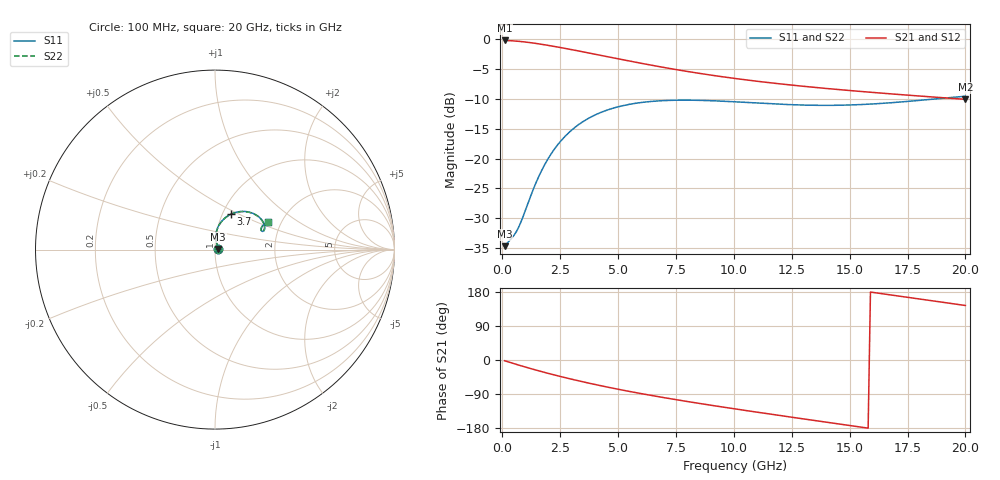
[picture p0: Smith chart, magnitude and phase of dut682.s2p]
! Touchstone file exported from HFSS 2024.1.0
!  File:  C:/UserFiles/LocalFiles/RDL_TSV_Batchsim/temp_RDL_TSV_682_1779816917.aedt
!  Generated:  01:54:01 AM May 27, 2026
!  Design:  RDL_TSV
!  Project:  temp_RDL_TSV_682_1779816917
!  Setup:  Setup1
!  Solution:  Sweep
! Variables:
!  dtsv = 11.25um
!  hbump = 3um
!  htsv = 67.99um
!  ldown = 454.42um
!  lrdl = 448.85um
!  p = 40
!  p1 = 52.56um
!  rhole = 10um
!  subl = 3158.66um
!  t = 450um
!  tdown = 3.02um
!  trdl = 4.36um
!  viad = 10um
!  wdown = 13.96um
!  wrdl = 23.14um
!  xbump = 18um
# GHz S MA R 50.000000
! Terminal data exported
! Port[1] = TM1_1_T1
! Port[2] = TM1_4_T1
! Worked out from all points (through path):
!   200 points, 100 MHz to 20 GHz, reference 50 ohm
!   highest |S21| = -0.16 dB at 100 MHz (marker M1); lowest = -10.1 dB at 20 GHz (marker M2)
!   group delay of S21, straight-line fit = 28.1 ps
!   lowest |S11| = -34.7 dB at 100 MHz (marker M3), VSWR 1.04, Z = 51.8 + j0.355 ohm
!   |S11| at or under -10 dB: start of sweep to 18.67 GHz
!   |S22| runs from -34.7 to -9.6 dB; largest |S21 - S12| = 1.5e-14
!   S11 on the Smith chart (normalised r, x): 100 MHz: 1.04, +0.01; 3.7 GHz: 1.10, +0.45; 20 GHz: 1.72, +0.59
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0.1  0.01836 10.7  0.9815 -2.0  0.9815 -2.0  0.01836 10.7
! Gamma 0 0 0 0
! Port Impedance 50 0 50 0
0.5  0.0226 43.1  0.9727 -9.5  0.9727 -9.5  0.02261 43.0
0.7  0.02634 58.3  0.9656 -13.2  0.9656 -13.2  0.02635 58.2
1.1  0.04167 79.3  0.947 -20.4  0.947 -20.4  0.04165 79.2
1.5  0.06556 86.4  0.9239 -27.4  0.9239 -27.4  0.06547 86.2
1.8  0.08658 86.6  0.9047 -32.3  0.9047 -32.3  0.08643 86.5
2.1  0.1087 84.7  0.8846 -37.2  0.8846 -37.2  0.1085 84.6
2.7  0.1529 78.3  0.8427 -46.4  0.8427 -46.4  0.1525 78.2
3.5  0.2051 68.3  0.7867 -57.8  0.7867 -57.8  0.2046 68.2
3.7  0.2164 65.8  0.7729 -60.6  0.7729 -60.6  0.2158 65.7
4.4  0.2501 57.6  0.7262 -69.7  0.7262 -69.7  0.2494 57.5
5.2  0.2779 49.3  0.6763 -79.6  0.6763 -79.6  0.277 49.2
6  0.2956 42.3  0.631 -88.8  0.631 -88.8  0.2946 42.2
6.8  0.3054 36.4  0.5905 -97.4  0.5905 -97.4  0.3043 36.3
8.4  0.3086 27.7  0.5234 -113.6  0.5234 -113.6  0.3073 27.6
10.1  0.2992 22.5  0.4691 -129.5  0.4691 -129.5  0.2978 22.5
11.7  0.2878 20.9  0.4301 -143.9  0.4301 -143.9  0.2863 20.8
13.4  0.2802 21.7  0.3975 -158.9  0.3975 -158.9  0.2789 21.7
15  0.2817 23.9  0.3726 -172.9  0.3726 -172.9  0.2805 24.0
16.7  0.2934 26.2  0.3503 172.3  0.3503 172.3  0.2923 26.3
18.4  0.3128 27.3  0.3308 157.6  0.3308 157.6  0.3118 27.4
20  0.3338 27.0  0.3144 143.8  0.3144 143.8  0.333 27.0
